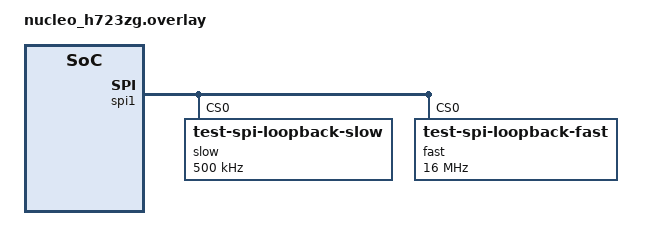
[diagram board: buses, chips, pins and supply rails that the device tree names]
/*
 * Copyright (c) 2021 STMicroelectronics
 *
 * SPDX-License-Identifier: Apache-2.0
 */

/* Set div-q to get test clk freq into acceptable SPI freq range */
&pll {
	/delete-property/ div-q;
	div-q = <8>;
};

&dmamux1 {
	status = "okay";
};

&dma1 {
	status = "okay";
};

/* Define PLL1_Q as SPI1 kernel clock source */
&spi1 {
	/delete-property/ clocks;
	clocks = <&rcc STM32_CLOCK_BUS_APB2 0x00001000>,
		 <&rcc STM32_SRC_PLL1_Q SPI123_SEL(0)>;

	dmas = <&dmamux1 0 38 (STM32_DMA_PERIPH_TX | STM32_DMA_PRIORITY_HIGH)>,
	       <&dmamux1 1 37 (STM32_DMA_PERIPH_RX | STM32_DMA_PRIORITY_HIGH)>;
	dma-names = "tx", "rx";

	slow@0 {
		compatible = "test-spi-loopback-slow";
		reg = <0>;
		spi-max-frequency = <500000>;
	};

	fast@0 {
		compatible = "test-spi-loopback-fast";
		reg = <0>;
		spi-max-frequency = <16000000>;
	};
};
